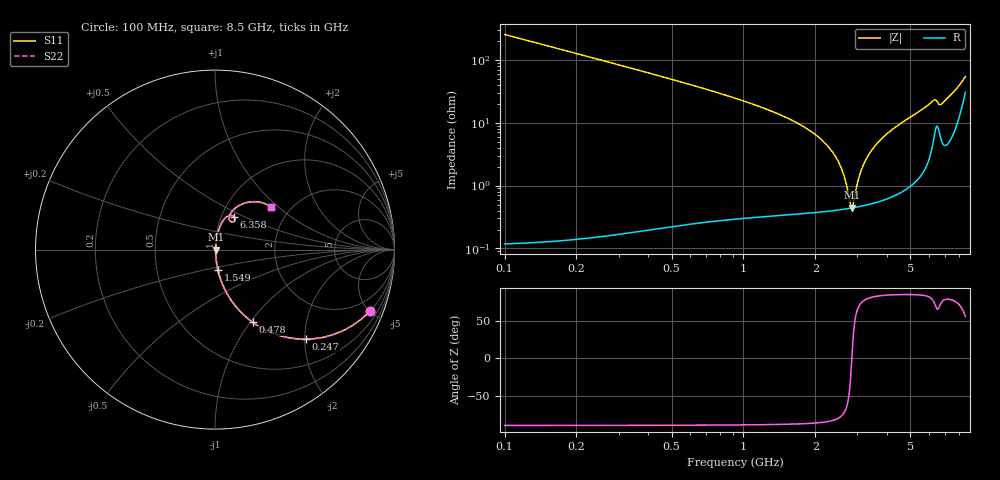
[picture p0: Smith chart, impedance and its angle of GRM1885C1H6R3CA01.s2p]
!Murata Part Number: GRM1885C1H6R3CA01
!These Parameters are Measured in Series Mode Connection
!Data Generated on Mar 30, 2021
!  o--ll--o
!Port1  Port2
!  o------o
!Operation Temp=25[degC], DC Bias Voltage=0[V]
!Freq. Start=100[MHz] Stop=9[GHz] 401[Steps]
# Hz S RI R 50
!Freq.(Hz) S11(Real) S11(Imag) S21(Real) S21(Imag) S12(Real) S12(Imag) S22(Real) S22(Imag)
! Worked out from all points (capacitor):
!   401 points, 100 MHz to 8.5 GHz, reference 50 ohm
!   read as one part in series: C = 6.3 pF near 142 MHz
!   lowest |Z| = 444 mohm at 2.851 GHz (marker M1)
!   series resonance near 2.844 GHz, so ESL is about 500 pH
!   S11 on the Smith chart (normalised r, x): 100 MHz: 1.00, -5.05; 247 MHz: 1.00, -2.03; 478 MHz: 1.00, -1.03; 1.549 GHz: 1.01, -0.23; 6.358 GHz: 1.15, +0.44; 8.5 GHz: 1.61, +0.90
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1e8  0.8641 -0.3424  0.1359 0.3424  0.1359 0.3424  0.8641 -0.3424
2.47e8  0.5072 -0.4992  0.4928 0.4992  0.4928 0.4992  0.5072 -0.4992
4.78e8  0.2093 -0.4047  0.7907 0.4047  0.7907 0.4047  0.2093 -0.4047
8.35e8  0.0732 -0.2554  0.9268 0.2554  0.9268 0.2554  0.0732 -0.2554
1.507e9  0.0177 -0.1187  0.9823 0.1187  0.9823 0.1187  0.0177 -0.1187
1.549e9  0.0164 -0.1131  0.9836 0.1131  0.9836 0.1131  0.0164 -0.1131
2.074e9  0.00705 -0.0572  0.9929 0.0572  0.9929 0.0572  0.00705 -0.0572
2.41e9  0.0049 -0.0299  0.9951 0.0299  0.9951 0.0299  0.0049 -0.0299
2.599e9  0.00442 -0.0163  0.9956 0.0163  0.9956 0.0163  0.00442 -0.0163
2.809e9  0.00436 -0.00222  0.9956 0.00222  0.9956 0.00222  0.00436 -0.00222
2.851e9  0.00439 0.000477  0.9956 -0.000477  0.9956 -0.000477  0.00439 0.000477
2.914e9  0.00448 0.00446  0.9955 -0.00446  0.9955 -0.00446  0.00448 0.00446
3.103e9  0.00492 0.016  0.9951 -0.016  0.9951 -0.016  0.00492 0.016
3.355e9  0.00593 0.0307  0.9941 -0.0307  0.9941 -0.0307  0.00593 0.0307
3.754e9  0.00841 0.0526  0.9916 -0.0526  0.9916 -0.0526  0.00841 0.0526
4.3e9  0.0136 0.0813  0.9864 -0.0813  0.9864 -0.0813  0.0136 0.0813
5.707e9  0.0434 0.1595  0.9566 -0.1595  0.9566 -0.1595  0.0434 0.1595
6.358e9  0.1068 0.1823  0.8932 -0.1823  0.8932 -0.1823  0.1068 0.1823
6.652e9  0.086 0.1571  0.914 -0.1571  0.914 -0.1571  0.086 0.1571
7.114e9  0.0892 0.2059  0.9108 -0.2059  0.9108 -0.2059  0.0892 0.2059
7.849e9  0.1681 0.2599  0.8319 -0.2599  0.8319 -0.2599  0.1681 0.2599
8.5e9  0.3147 0.2374  0.6853 -0.2374  0.6853 -0.2374  0.3147 0.2374
